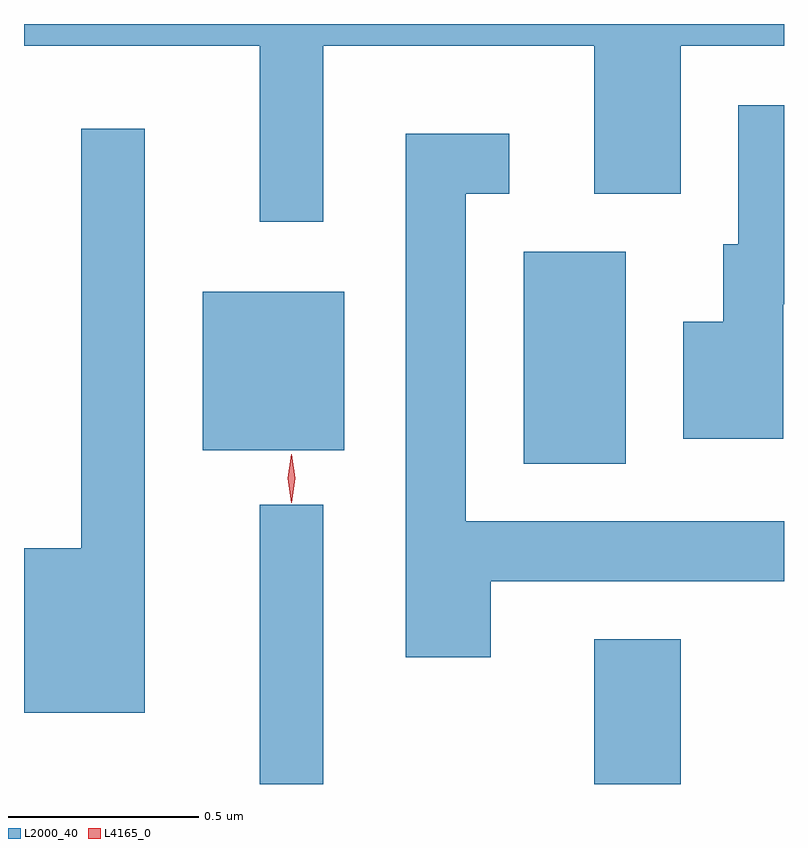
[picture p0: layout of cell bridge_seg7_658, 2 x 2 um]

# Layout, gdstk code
import gdstk
lib = gdstk.Library(unit=1e-6, precision=1e-09)
def R(c, l, rs):  # rectangles x0, y0, x1, y1
    for r in rs: c.add(gdstk.rectangle(r[:2], r[2:], *l))
def P(c, l, *ps):  # polygons
    for p in ps: c.add(gdstk.Polygon(p, *l))
L2000_40 = (2000, 40)
L4165_0 = (4165, 0)

bridge_seg7_658 = lib.new_cell('bridge_seg7_658')
R(bridge_seg7_658, L2000_40, [(705.891,1670.193,706.059,1670.928), (706.771,1670.193,706.999,1670.574), (706.586,1671.036,706.854,1671.594), (705.741,1671.071,706.114,1671.489)])
P(bridge_seg7_658, L2000_40, [(706.059,1672.136),(706.771,1672.136),(706.771,1671.746),(706.999,1671.746),(706.999,1672.136),(707.271,1672.136),(707.271,1672.193),(705.271,1672.193),(705.271,1672.136),(705.891,1672.136),(705.891,1671.673),(706.059,1671.673)],
  [(707.269,1671.456),(707.271,1671.456),(707.271,1671.979),(707.151,1671.979),(707.151,1671.614),(707.111,1671.614),(707.111,1671.409),(707.006,1671.409),(707.006,1671.101),(707.269,1671.101)],
  [(705.589,1671.918),(705.421,1671.918),(705.421,1670.814),(705.271,1670.814),(705.271,1670.381),(705.589,1670.381)],
  [(706.499,1670.726),(707.271,1670.726),(707.271,1670.884),(706.434,1670.884),(706.434,1671.746),(706.548,1671.746),(706.548,1671.904),(706.276,1671.904),(706.276,1670.526),(706.499,1670.526)])
P(bridge_seg7_658, L4165_0, [(705.974,1670.933),(705.965,1670.997),(705.974,1671.061),(705.975,1671.061),(705.975,1671.061),(705.985,1670.997),(705.975,1670.933),(705.975,1670.933)])

lib.write_gds('bridge_seg7_658.gds')
